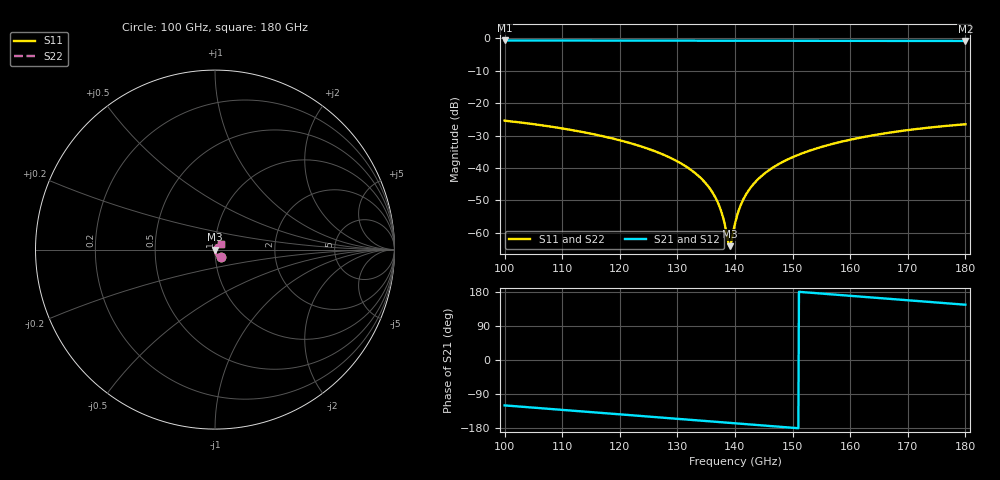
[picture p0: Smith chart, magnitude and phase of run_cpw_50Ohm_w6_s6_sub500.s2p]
#  Hz  S  RI  R  50
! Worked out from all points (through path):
!   801 points, 100 GHz to 180 GHz, reference 50 ohm
!   highest |S21| = -0.60 dB at 100 GHz (marker M1); lowest = -0.8 dB at 180 GHz (marker M2)
!   group delay of S21, straight-line fit = 3.28 ps
!   lowest |S11| = -64.2 dB at 139.1 GHz (marker M3), VSWR 1.00, Z = 49.9 + j0.00483 ohm
!   |S11| at or under -10 dB: start of sweep to end of sweep
!   |S22| runs from -64.2 to -25.4 dB; largest |S21 - S12| = 0
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1e11  0.0323 -0.043  -0.4637 -0.8093  -0.4637 -0.8093  0.0323 -0.043
1.134e11  0.013 -0.0337  -0.6635 -0.6508  -0.6635 -0.6508  0.013 -0.0337
1.208e11  0.00569 -0.025  -0.7537 -0.5418  -0.7537 -0.5418  0.00569 -0.025
1.267e11  0.00186 -0.0172  -0.813 -0.4457  -0.813 -0.4457  0.00186 -0.0172
1.317e11  -3.19e-05 -0.0103  -0.8536 -0.359  -0.8536 -0.359  -3.19e-05 -0.0103
1.352e11  -0.000636 -0.00537  -0.8766 -0.2962  -0.8766 -0.2962  -0.000636 -0.00537
1.364e11  -0.000707 -0.00369  -0.8834 -0.2743  -0.8834 -0.2743  -0.000707 -0.00369
1.373e11  -0.000716 -0.00244  -0.8881 -0.2578  -0.8881 -0.2578  -0.000716 -0.00244
1.38e11  -0.000695 -0.00147  -0.8916 -0.2449  -0.8916 -0.2449  -0.000695 -0.00147
1.388e11  -0.000644 -0.000365  -0.8953 -0.2301  -0.8953 -0.2301  -0.000644 -0.000365
1.391e11  -0.000617 4.83e-05  -0.8967 -0.2245  -0.8967 -0.2245  -0.000617 4.83e-05
1.394e11  -0.000585 0.000461  -0.898 -0.2189  -0.898 -0.2189  -0.000585 0.000461
1.4e11  -0.000509 0.00128  -0.9005 -0.2078  -0.9005 -0.2078  -0.000509 0.00128
1.407e11  -0.000399 0.00224  -0.9032 -0.1947  -0.9032 -0.1947  -0.000399 0.00224
1.416e11  -0.000224 0.00346  -0.9064 -0.1779  -0.9064 -0.1779  -0.000224 0.00346
1.427e11  4.18e-05 0.00495  -0.91 -0.1572  -0.91 -0.1572  4.18e-05 0.00495
1.441e11  0.000462 0.00681  -0.9138 -0.1308  -0.9138 -0.1308  0.000462 0.00681
1.48e11  0.00211 0.0118  -0.9203 -0.057  -0.9203 -0.057  0.00211 0.0118
1.534e11  0.00552 0.0182  -0.9196 0.0455  -0.9196 0.0455  0.00552 0.0182
1.594e11  0.0107 0.0243  -0.9055 0.1581  -0.9055 0.1581  0.0107 0.0243
1.667e11  0.0186 0.0296  -0.8701 0.291  -0.8701 0.291  0.0186 0.0296
1.8e11  0.0349 0.0319  -0.7578 0.5138  -0.7578 0.5138  0.0349 0.0319
